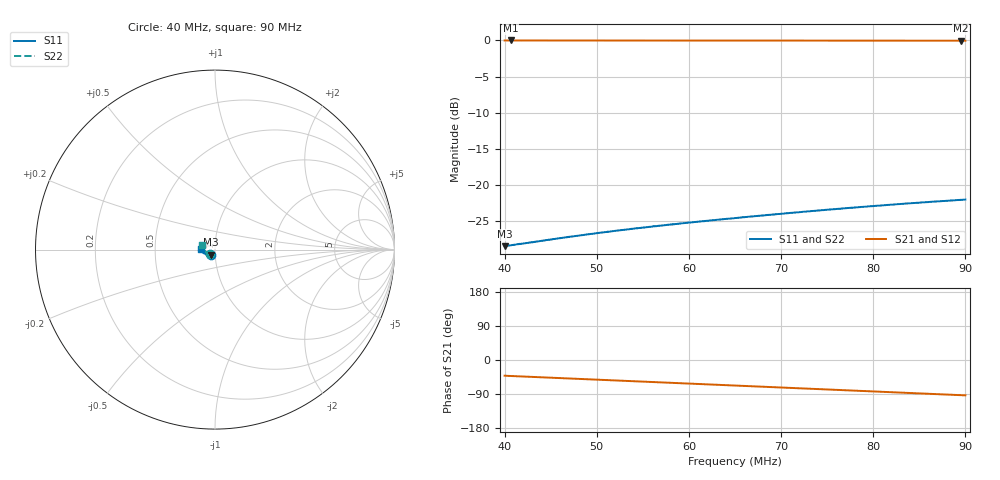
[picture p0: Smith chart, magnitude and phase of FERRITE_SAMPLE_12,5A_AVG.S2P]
!Agilent Technologies,E5061B,MY49102235,A.02.00
!Date: Mon Jul 03 10:59:15 2023
!Data & Calibration Information:
!Freq	S11:SOLT2(ON)	S21:SOLT2(ON)	S12:SOLT2(ON)	S22:SOLT2(ON)
# Hz S RI R 50
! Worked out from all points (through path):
!   1600 points, 40 MHz to 90 MHz, reference 50 ohm
!   highest |S21| = 0.00 dB at 40.69 MHz (marker M1); lowest = 0.0 dB at 89.5 MHz (marker M2)
!   group delay of S21, straight-line fit = 2.88 ns
!   lowest |S11| = -28.5 dB at 40 MHz (marker M3), VSWR 1.08, Z = 47.5 - j2.75 ohm
!   |S11| at or under -10 dB: start of sweep to end of sweep
!   |S22| runs from -28.6 to -22.0 dB; largest |S21 - S12| = 0.0014
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4e7  -0.0244 -0.0288  0.7485 -0.6624  0.7486 -0.6614  -0.0284 -0.0237
4.068793e7  -0.0251 -0.029  0.7404 -0.6716  0.7404 -0.6706  -0.0292 -0.0237
4.300188e7  -0.0276 -0.0293  0.7114 -0.7019  0.7116 -0.7012  -0.0322 -0.0234
4.444028e7  -0.0291 -0.0296  0.6927 -0.72  0.693 -0.7195  -0.034 -0.0232
4.578487e7  -0.0307 -0.0297  0.675 -0.7368  0.6753 -0.7362  -0.0357 -0.0228
4.834897e7  -0.0335 -0.03  0.64 -0.7669  0.6401 -0.7665  -0.0389 -0.0218
5.000625e7  -0.0355 -0.03  0.6166 -0.7858  0.6167 -0.7853  -0.041 -0.021
5.241401e7  -0.0382 -0.0299  0.5816 -0.8117  0.5817 -0.8113  -0.0438 -0.0196
5.666667e7  -0.0432 -0.0293  0.5174 -0.8536  0.5174 -0.8531  -0.0488 -0.0165
6.082552e7  -0.0482 -0.0279  0.452 -0.8899  0.4519 -0.8893  -0.0531 -0.0131
6.501563e7  -0.0534 -0.0255  0.3831 -0.9216  0.3835 -0.9207  -0.0575 -0.00922
6.901814e7  -0.0583 -0.0224  0.3155 -0.9469  0.316 -0.9461  -0.0614 -0.00503
7.133208e7  -0.061 -0.0203  0.2754 -0.9593  0.276 -0.9584  -0.0637 -0.00222
7.33646e7  -0.0635 -0.0185  0.2397 -0.9687  0.2405 -0.968  -0.0655 0.000288
7.530331e7  -0.0657 -0.0165  0.2054 -0.9762  0.2061 -0.9758  -0.0671 0.00287
7.746091e7  -0.0679 -0.0142  0.1672 -0.9833  0.1676 -0.9828  -0.0689 0.00591
7.936836e7  -0.07 -0.0122  0.1329 -0.9881  0.1335 -0.9878  -0.0702 0.0089
8.16823e7  -0.0723 -0.00968  0.0915 -0.9925  0.0921 -0.9922  -0.0717 0.0126
8.358974e7  -0.074 -0.00742  0.0572 -0.995  0.0577 -0.9944  -0.0727 0.0158
8.596623e7  -0.076 -0.00454  0.0147 -0.9961  0.0149 -0.9958  -0.0735 0.0199
8.949969e7  -0.0789 0.000241  -0.0486 -0.9945  -0.0483 -0.9941  -0.0745 0.0261
9e7  -0.0793 0.000887  -0.0574 -0.9941  -0.0572 -0.9936  -0.0746 0.0271
